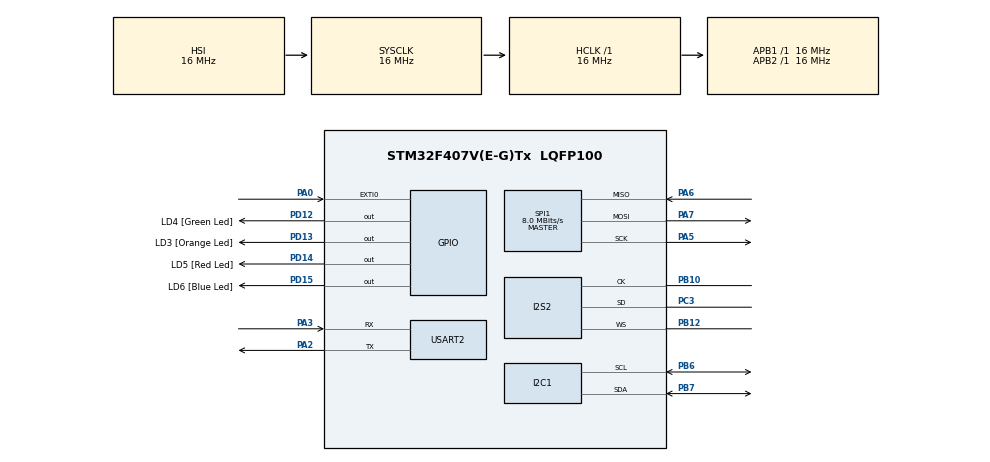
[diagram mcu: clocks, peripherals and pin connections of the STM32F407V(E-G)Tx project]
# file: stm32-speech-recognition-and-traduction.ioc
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Dma.Request0=SPI2_RX
Dma.SPI2_RX.0.Direction=DMA_PERIPH_TO_MEMORY
Dma.SPI2_RX.0.FIFOMode=DMA_FIFOMODE_DISABLE
Dma.SPI2_RX.0.Instance=DMA1_Stream3
Dma.SPI2_RX.0.MemDataAlignment=DMA_MDATAALIGN_HALFWORD
Dma.SPI2_RX.0.MemInc=DMA_MINC_ENABLE
Dma.SPI2_RX.0.Mode=DMA_CIRCULAR
Dma.SPI2_RX.0.PeriphDataAlignment=DMA_PDATAALIGN_HALFWORD
Dma.SPI2_RX.0.PeriphInc=DMA_PINC_DISABLE
Dma.SPI2_RX.0.Priority=DMA_PRIORITY_HIGH
I2S2.AudioFreq=I2S_AUDIOFREQ_8K
I2S2.AudioFreqCustom=9000
I2S2.CPOL=I2S_CPOL_LOW
I2S2.DataFormat=I2S_DATAFORMAT_24B
I2S2.ErrorAudioFreq=0.0 %
I2S2.FullDuplexMode=I2S_FULLDUPLEXMODE_DISABLE
I2S2.Instance=SPI$Index
I2S2.Mode=I2S_MODE_MASTER_RX
I2S2.RealAudioFreq=8.0 KHz
I2S2.Standard=I2S_STANDARD_PHILIPS
I2S2.VirtualMode=I2S_MODE_MASTER
Mcu.Family=STM32F4
Mcu.Name=STM32F407V(E-G)Tx
Mcu.Package=LQFP100
NVIC.DMA1_Stream3_IRQn=true\:0\:0\:false\:false\:true\:false\:true\:true
NVIC.EXTI0_IRQn=true\:0\:0\:false\:false\:true\:true\:true\:true
NVIC.PriorityGroup=NVIC_PRIORITYGROUP_4
PA0-WKUP.Signal=GPXTI0
PA2.Mode=Asynchronous
PA2.Signal=USART2_TX
PA3.Mode=Asynchronous
PA3.Signal=USART2_RX
PA5.Mode=Full_Duplex_Master
PA5.Signal=SPI1_SCK
PA6.Mode=Full_Duplex_Master
PA6.Signal=SPI1_MISO
PA7.Mode=Full_Duplex_Master
PA7.Signal=SPI1_MOSI
PB10.Mode=Half_Duplex_Master
PB10.Signal=I2S2_CK
PB12.Mode=Half_Duplex_Master
PB12.Signal=I2S2_WS
PB6.Mode=I2C
PB6.Signal=I2C1_SCL
PB7.Mode=I2C
PB7.Signal=I2C1_SDA
PC3.Mode=Half_Duplex_Master
PC3.Signal=I2S2_SD
PD12.GPIO_Label=LD4 [Green Led]
PD12.Signal=GPIO_Output
PD13.GPIO_Label=LD3 [Orange Led]
PD13.Signal=GPIO_Output
PD14.GPIO_Label=LD5 [Red Led]
PD14.Signal=GPIO_Output
PD15.GPIO_Label=LD6 [Blue Led]
PD15.Signal=GPIO_Output
PDM2PCM.CHANNEL1_in_ptr_channels=1
PDM2PCM.CHANNEL1_mic_gain=24
PDM2PCM.CHANNEL1_out_ptr_channels=1
ProjectManager.HeapSize=0x800
ProjectManager.StackSize=0x800
ProjectManager.TargetToolchain=STM32CubeIDE
RCC.48MHZClocksFreq_Value=80000000
RCC.AHBFreq_Value=16000000
RCC.APB1Freq_Value=16000000
RCC.APB1TimFreq_Value=16000000
RCC.APB2Freq_Value=16000000
RCC.APB2TimFreq_Value=16000000
RCC.CortexFreq_Value=16000000
RCC.HCLKFreq_Value=16000000
RCC.HSE_VALUE=8000000
RCC.HSI_VALUE=16000000
RCC.LSE_VALUE=32768
RCC.PLLI2SN=200
RCC.PLLI2SR=5
RCC.PLLM=10
RCC.PLLN=200
RCC.SYSCLKFreq_VALUE=16000000
RCC.VCOOutputFreq_Value=320000000
SPI1.BaudRatePrescaler=SPI_BAUDRATEPRESCALER_2
SPI1.CalculateBaudRate=8.0 MBits/s
SPI1.Direction=SPI_DIRECTION_2LINES
SPI1.Mode=SPI_MODE_MASTER
SPI1.VirtualType=VM_MASTER
STMicroelectronics.X-CUBE-AI.7.0.0.ActivationBufferSizeList=15544
STMicroelectronics.X-CUBE-AI.7.0.0.HeapSize=0x800
STMicroelectronics.X-CUBE-AI.7.0.0.InternalRamActivationBufferMaxSize=AI_SPEECH_COMMANDS_MODEL_DATA_ACTIVATIONS_SIZE
STMicroelectronics.X-CUBE-AI.7.0.0.LatestDirectoryUsed-ec8d6dc0aa295b05e866479a43a90cfb7a5666832c3120f329fbb4936ae1a87f=C\:\\Users\\idris\\OneDrive\\Desktop
STMicroelectronics.X-CUBE-AI.7.0.0.MaximumNumberOfInputLayer=1
STMicroelectronics.X-CUBE-AI.7.0.0.MaximumNumberOfOutputLayer=1
STMicroelectronics.X-CUBE-AI.7.0.0.MaximumSizeOfInputLayer=AI_SPEECH_COMMANDS_MODEL_IN_1_SIZE_BYTES
STMicroelectronics.X-CUBE-AI.7.0.0.MaximumSizeOfOutputLayer=AI_SPEECH_COMMANDS_MODEL_OUT_1_SIZE_BYTES
STMicroelectronics.X-CUBE-AI.7.0.0.ModelActualCompression-ec8d6dc0aa295b05e866479a43a90cfb7a5666832c3120f329fbb4936ae1a87f=0.0
STMicroelectronics.X-CUBE-AI.7.0.0.ModelCompression-ec8d6dc0aa295b05e866479a43a90cfb7a5666832c3120f329fbb4936ae1a87f=1
STMicroelectronics.X-CUBE-AI.7.0.0.ModelFlashOccupation-ec8d6dc0aa295b05e866479a43a90cfb7a5666832c3120f329fbb4936ae1a87f=176888
STMicroelectronics.X-CUBE-AI.7.0.0.ModelHashList=ec8d6dc0aa295b05e866479a43a90cfb7a5666832c3120f329fbb4936ae1a87f
STMicroelectronics.X-CUBE-AI.7.0.0.ModelKind-ec8d6dc0aa295b05e866479a43a90cfb7a5666832c3120f329fbb4936ae1a87f=TFLITE
STMicroelectronics.X-CUBE-AI.7.0.0.ModelMacc-ec8d6dc0aa295b05e866479a43a90cfb7a5666832c3120f329fbb4936ae1a87f=243888
STMicroelectronics.X-CUBE-AI.7.0.0.ModelName-ec8d6dc0aa295b05e866479a43a90cfb7a5666832c3120f329fbb4936ae1a87f=speech_commands_model
STMicroelectronics.X-CUBE-AI.7.0.0.ModelNameList=speech_commands_model
STMicroelectronics.X-CUBE-AI.7.0.0.ModelRamOccupation-ec8d6dc0aa295b05e866479a43a90cfb7a5666832c3120f329fbb4936ae1a87f=15544
STMicroelectronics.X-CUBE-AI.7.0.0.ModelStructureFile-ec8d6dc0aa295b05e866479a43a90cfb7a5666832c3120f329fbb4936ae1a87f=C\:\\Users\\idris\\OneDrive\\Desktop\\speech-commands-model.tflite
STMicroelectronics.X-CUBE-AI.7.0.0.ModelType-ec8d6dc0aa295b05e866479a43a90cfb7a5666832c3120f329fbb4936ae1a87f=STM32Cube.AI runtime
STMicroelectronics.X-CUBE-AI.7.0.0.ReadyForCodeGeneration=true
STMicroelectronics.X-CUBE-AI.7.0.0.StackSize=0x800
STMicroelectronics.X-CUBE-AI.7.0.0.WorkingBufferStartAddrList=0xFFFFFFFF
STMicroelectronics.X-CUBE-AI.7.0.0.XAaCUBEAaAICcArtificialOoIntelligenceJjCore=true
USART2.VirtualMode=VM_ASYNC
VP_CRC_VS_CRC.Mode=CRC_Activate
VP_PDM2PCM_VS_PDM2PCM.Mode=PDM2PCM_Channel
VP_STMicroelectronics.X-CUBE-AI_VS_ArtificialOoIntelligenceJjXAaCUBEAaAI_7.0.0.Mode=ArtificialOoIntelligenceJjXAaCUBEAaAI
board=custom

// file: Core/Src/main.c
/* USER CODE BEGIN Header */
/**
 ******************************************************************************
 * @file           : main.c
 * @brief          : Main program body
 ******************************************************************************
 * @attention
 *
 * <h2><center>&copy; Copyright (c) 2021 STMicroelectronics.
 * All rights reserved.</center></h2>
 *
 * This software component is licensed by ST under BSD 3-Clause license,
 * the "License"; You may not use this file except in compliance with the
 * License. You may obtain a copy of the License at:
 *                        opensource.org/licenses/BSD-3-Clause
 *
 ******************************************************************************
 */
/* USER CODE END Header */
#include "execution_time.h"
#include "main.h"
#include "pdm2pcm.h"

/* USER CODE BEGIN Includes */
#include <string.h>
#include <stdio.h>
#include <stdlib.h>
#include <unistd.h>
#include <inttypes.h>

/* BSP drivers */
#include "../../Drivers/BSP/STM32F4-Discovery/stm32f4_discovery.h"
#include "../../Drivers/BSP/STM32F4-Discovery/stm32f4_discovery_audio.h"

/* Audio processing */
#include "arm_math.h"
#include "feature_extraction.h"

#include "commands.h"
#include "audio_record.h"

/* AI model */
#include "ai_datatypes_defines.h"
#include "ai_platform.h"
#include "speech_commands_model.h"
#include "speech_commands_model_data.h"

/* USER CODE END Includes */

/* USER CODE BEGIN PTD */

enum leds_status {
	Off, Green, Blue, Red, Orange
};

/* USER CODE END PTD */

/* USER CODE BEGIN PD */

/* Input signal sampling rate */
#define SAMPLE_RATE  16000U

/* Number of FFT points. It must be greater or equal to FRAME_LEN */
#define FFT_LEN       2048U

/* Window length and then padded with zeros to match FFT_LEN */
#define FRAME_LEN   FFT_LEN

/* Number of overlapping samples between successive frames */
#define HOP_LEN        512U

/* Number of Mel bands */
#define NUM_MELS       128U

/* Number of Mel filter weights. Returned by MelFilterbank_Init */
#define NUM_MEL_COEFS 2020U

/* Number of MFCCs to return */
#define NUM_MFCC        16U

/* USER CODE END PD */

CRC_HandleTypeDef hcrc;

I2C_HandleTypeDef hi2c1;

I2S_HandleTypeDef hi2s2;
DMA_HandleTypeDef hdma_spi2_rx;

SPI_HandleTypeDef hspi1;

UART_HandleTypeDef huart2;

/* USER CODE BEGIN PV */

/* Instance for floating-point RFFT/RIFFT */
arm_rfft_fast_instance_f32 rfft;

/* Instance for the floating-point MelFilterbank function */
MelFilterTypeDef mel_filter;

/* Instance for the floating-point DCT functions */
DCT_InstanceTypeDef dct;

/* Instance for the floating-point Spectrogram function */
SpectrogramTypeDef spectrogram;

/* Instance for the floating-point MelSpectrogram function */
MelSpectrogramTypeDef mel_spectrogram;

/* Instance for the floating-point Log-MelSpectrogram function */
LogMelSpectrogramTypeDef log_mel_spectrogram;

/* Instance for the floating-point Mfcc function */
MfccTypeDef mfcc;

/* Intermediate buffer that contains a signal frame */
float32_t frame_buffer[FRAME_LEN];

/* Intermediate buffer that contains Mel-Frequency Cepstral Coefficients (MFCCs) column  */
float32_t mfcc_col_buffer[NUM_MFCC];

/* Intermediate buffer that contains the window function  */
float32_t window_func_buffer[FRAME_LEN];

/* Temporary calculation buffer of length `FFT_LEN` */
float32_t spectrogram_scratch_buffer[FFT_LEN];

/* Intermediate buffer that contains the Discrete Cosine Transform coefficients */
float32_t dct_coefs_buffer[NUM_MELS * NUM_MFCC];

/* Temporary calculation buffer of length `NUM_MELS` */
float32_t mfcc_scratch_buffer[NUM_MELS];

/*Intermediate buffer that contains the Mel filter weights of length `NUM_MEL_COEFS` */
float32_t mel_filter_coefs[NUM_MEL_COEFS];

/* Intermediate buffer that contains the Mel filter coefficients start indices */
uint32_t mel_filter_start_indices[NUM_MELS];

/* Intermediate buffer that contains the Mel filter coefficients stop indices */
uint32_t mel_filter_stop_indices[NUM_MELS];

/* Number of frames of the input signal */
uint32_t num_frames = 1 + (PCM_BUFFER_SIZE - FRAME_LEN) / HOP_LEN;

/* Buffer used to print through the USART interface */
char usart_buffer[50];
int usart_buffer_length = 0;

/* Control words display */
uint8_t display_words_enabled = 0;

/* Check if the words can be printed */
uint8_t print_words = 1;

/* Board led status  */
enum leds_status led_status = Off;

/* USER CODE END PV */

void SystemClock_Config(void);
static void MX_GPIO_Init(void);
static void MX_DMA_Init(void);
static void MX_I2S2_Init(void);
static void MX_CRC_Init(void);
static void MX_USART2_UART_Init(void);
static void MX_I2C1_Init(void);
static void MX_SPI1_Init(void);
/* USER CODE BEGIN PFP */

/* Initialize audio processing structures */
void preprocessing_init(void);

/* MCU sleep mode */
void stop_mode(void);

/* USER CODE END PFP */

/* USER CODE BEGIN 0 */

/**
 * @brief Compute MFCCs from the input signal audio.
 *   This function normalizes the input audio data in PCM form and extracts the
 *   MFCCs from them.
 *
 * @param  input_signal*   PCM input signal
 * @param  out_mfcc*       MFCCs output buffer
 * @param  signal_len      length of the input signal
 *
 * @retval None
 */
void preprocess_audio(int16_t *input_signal, float32_t *out_mfcc,
		uint32_t signal_len) {

	for (uint32_t frame_index = 0; frame_index < num_frames; frame_index++) {

		/* Convert 16-bit PCM into normalized floating point values */
		buf_to_float_normed(&input_signal[HOP_LEN * frame_index], frame_buffer,
		FRAME_LEN);

		MfccColumn(&mfcc, frame_buffer, mfcc_col_buffer);

		/* Reshape column into `out_mfcc` */
		for (uint32_t i = 0; i < NUM_MFCC; i++) {
			out_mfcc[i * num_frames + frame_index] = mfcc_col_buffer[i];
		}
	}
}

/**
 * @brief Recognize specific vocal commands.
 *   This function performs the following actions depending on the predicted
 *   word:
 *      - `ON` -> enable words display
 *      - `OFF` -> disable words display
 *      - `VISUAL` -> show execution time statistics
 *      - `STOP` -> reset execution time statistics
 *      - `ONE` -> turn the green led on
 *      - `TWO` -> turn the blue led on
 *      - `THREE` -> turn the red led on
 *      - `FOUR` -> turn the orange led on
 *
 *   The following rules apply to the above commands:
 *      - `ON` command has no effect when `display_words_enabled` is true
 *      - `OFF` command has no effect when `display_words_enabled` is false
 *      - `VISUAL` and `STOP` commands will always have effect
 *      - the LEDs will always turn off unless their commands are pronounced
 *
 * @param  word*   a constant string to be recognized
 *
 * @retval None
 */
void recognize_commands(const char *word) {
	/* Turn on green led and turn off the others */
	if (strcmp(word, ONE) == 0) {
		if (led_status != Green) {
			if (led_status == Blue) {
				HAL_GPIO_TogglePin(GPIOD, LD6_Pin);
			} else if (led_status == Red) {
				HAL_GPIO_TogglePin(GPIOD, LD5_Pin);
			} else if (led_status == Orange) {
				HAL_GPIO_TogglePin(GPIOD, LD3_Pin);
			}
			HAL_GPIO_TogglePin(GPIOD, LD4_Pin);
			led_status = Green;
		}
		/* Turn on blue led and turn off the others */
	} else if (strcmp(word, TWO) == 0) {
		if (led_status != Blue) {
			if (led_status == Green) {
				HAL_GPIO_TogglePin(GPIOD, LD4_Pin);
			} else if (led_status == Red) {
				HAL_GPIO_TogglePin(GPIOD, LD5_Pin);
			} else if (led_status == Orange) {
				HAL_GPIO_TogglePin(GPIOD, LD3_Pin);
			}
			HAL_GPIO_TogglePin(GPIOD, LD6_Pin);
			led_status = Blue;
		}
		/* Turn on red led and turn off the others */
	} else if (strcmp(word, THREE) == 0) {
		if (led_status != Red) {
			if (led_status == Green) {
				HAL_GPIO_TogglePin(GPIOD, LD4_Pin);
			} else if (led_status == Blue) {
				HAL_GPIO_TogglePin(GPIOD, LD6_Pin);
			} else if (led_status == Orange) {
				HAL_GPIO_TogglePin(GPIOD, LD3_Pin);
			}
			HAL_GPIO_TogglePin(GPIOD, LD5_Pin);
			led_status = Red;
		}
		/* Turn on orange led and turn off the others */
	} else if (strcmp(word, FOUR) == 0) {
		if (led_status != Orange) {
			if (led_status == Green) {
				HAL_GPIO_TogglePin(GPIOD, LD4_Pin);
			} else if (led_status == Blue) {
				HAL_GPIO_TogglePin(GPIOD, LD6_Pin);
			} else if (led_status == Red) {
				HAL_GPIO_TogglePin(GPIOD, LD5_Pin);
			}
			HAL_GPIO_TogglePin(GPIOD, LD3_Pin);
			led_status = Orange;
		}
	}
	/* The input word is different from the four colors */
	else {
		/* If there is a led on, turn it off */
		if (led_status == Green) {
			HAL_GPIO_TogglePin(GPIOD, LD4_Pin);
		} else if (led_status == Blue) {
			HAL_GPIO_TogglePin(GPIOD, LD6_Pin);
		} else if (led_status == Red) {
			HAL_GPIO_TogglePin(GPIOD, LD5_Pin);
		} else if (led_status == Orange) {
			HAL_GPIO_TogglePin(GPIOD, LD3_Pin);
		}

		led_status = Off;

		/* Enable `display_words_enabled` */
		if (strcmp(word, ON) == 0) {
			print_words = 0;
			if (!display_words_enabled) {
				usart_buffer_length = sprintf(usart_buffer,
						"Now the words will be displayed\r\n");
				HAL_UART_Transmit(&huart2, (uint8_t*) usart_buffer,
						usart_buffer_length, 100);
				/* `display_words_enabled` is already enabled */
			} else {
				usart_buffer_length = sprintf(usart_buffer,
						"Words display is already enabled\r\n");
				HAL_UART_Transmit(&huart2, (uint8_t*) usart_buffer,
						usart_buffer_length, 100);
			}

			display_words_enabled = 1;
			/* Disable `display_words_enabled` */
		} else if (strcmp(word, OFF) == 0) {
			if (display_words_enabled) {
				display_words_enabled = 0;

				usart_buffer_length = sprintf(usart_buffer,
						"Now the words will not be displayed anymore\r\n");
				HAL_UART_Transmit(&huart2, (uint8_t*) usart_buffer,
						usart_buffer_length, 100);
			}
			/* Show execution time statistics */
		} else if (strcmp(word, VISUAL) == 0) {
			print_words = 0;

			for (uint8_t i = 0; i < EXECUTION_TIME_MAX_SECTIONS; i++) {
				switch (i) {
				case 0:
					usart_buffer_length = sprintf(usart_buffer,
							"Audio acquisition execution time:\r\n");
					break;
				case 1:
					usart_buffer_length = sprintf(usart_buffer,
							"MFCCs extraction execution time:\r\n");
					break;
				case 2:
					usart_buffer_length = sprintf(usart_buffer,
							"Inference execution time:\r\n");
					break;
				default:
					break;
					// unreachable
				}
				HAL_UART_Transmit(&huart2, (uint8_t*) usart_buffer,
						usart_buffer_length, 100);

				usart_buffer_length = sprintf(usart_buffer, "\telapsed=%lu\r\n",
						time_statistics_blocks[i].elapsed);
				HAL_UART_Transmit(&huart2, (uint8_t*) usart_buffer,
						usart_buffer_length, 100);

				usart_buffer_length = sprintf(usart_buffer, "\tmax=%lu\r\n",
						time_statistics_blocks[i].max);
				HAL_UART_Transmit(&huart2, (uint8_t*) usart_buffer,
						usart_buffer_length, 100);

				usart_buffer_length = sprintf(usart_buffer, "\tmin=%lu\r\n",
						time_statistics_blocks[i].min);
				HAL_UART_Transmit(&huart2, (uint8_t*) usart_buffer,
						usart_buffer_length, 100);
			}
			/* Reset execution time statistics */
		} else if (strcmp(word, STOP) == 0) {

			print_words = 0;

			usart_buffer_length = sprintf(usart_buffer,
					"Execution times are now reset\r\n");
			HAL_UART_Transmit(&huart2, (uint8_t*) usart_buffer,
					usart_buffer_length, 100);

			for (uint8_t i = 0; i < EXECUTION_TIME_MAX_SECTIONS; i++) {
				execution_time_clear(i);
			}
		}
	}
}

/* USER CODE END 0 */

int main(void)
{
  /* USER CODE BEGIN 1 */
	uint8_t test[20] = {'\0'};
//	uint8_t value = 10;

	ai_error ai_err;
	ai_i32 nbatch;

	/* Chunk of memory used to hold intermediate values for the neural network */
	AI_ALIGNED(4) ai_u8 activations[AI_SPEECH_COMMANDS_MODEL_DATA_ACTIVATIONS_SIZE];

	/* Buffers used to store input and output tensors */
	AI_ALIGNED(4) ai_float in_data[AI_SPEECH_COMMANDS_MODEL_IN_1_SIZE_BYTES];
	AI_ALIGNED(4) ai_float out_data[AI_SPEECH_COMMANDS_MODEL_OUT_1_SIZE_BYTES];

	/* Pointer to the neural network model */
	ai_handle speech_commands_model = AI_HANDLE_NULL;

	/* Initialize wrapper structs that hold info about the data (tensor height, width, channels) */
	ai_buffer ai_input[AI_SPEECH_COMMANDS_MODEL_IN_NUM] = AI_SPEECH_COMMANDS_MODEL_IN;
	ai_buffer ai_output[AI_SPEECH_COMMANDS_MODEL_OUT_NUM] = AI_SPEECH_COMMANDS_MODEL_OUT;

	/* Allocate memory and get weights from the neural network model */
	ai_network_params ai_params =
					AI_NETWORK_PARAMS_INIT(
							AI_SPEECH_COMMANDS_MODEL_DATA_WEIGHTS(ai_speech_commands_model_data_weights_get()),
							AI_SPEECH_COMMANDS_MODEL_DATA_ACTIVATIONS(activations)
					);

	/* Set wrapper structs pointers to the data buffers */
	ai_input[0].n_batches = 1;
	ai_input[0].data = AI_HANDLE_PTR(in_data);
	ai_output[0].n_batches = 1;
	ai_output[0].data = AI_HANDLE_PTR(out_data);

  /* USER CODE END 1 */

  /* MCU Configuration--------------------------------------------------------*/

  /* Reset of all peripherals, Initializes the Flash interface and the Systick. */
  HAL_Init();

  /* USER CODE BEGIN Init */

	/* Initialize LEDs */
	BSP_LED_Init(LED3);
	BSP_LED_Init(LED4);
	BSP_LED_Init(LED5);
	BSP_LED_Init(LED6);

	preprocessing_init();

	execution_time_init();

  /* USER CODE END Init */

  /* Configure the system clock */
  SystemClock_Config();

  /* USER CODE BEGIN SysInit */

	/* Initialize button */
	BSP_PB_Init(BUTTON_KEY, BUTTON_MODE_EXTI);

  /* USER CODE END SysInit */

  /* Initialize all configured peripherals */
  MX_GPIO_Init();
  MX_DMA_Init();
  MX_I2S2_Init();
  MX_CRC_Init();
  MX_PDM2PCM_Init();
  MX_USART2_UART_Init();
  MX_I2C1_Init();
  MX_SPI1_Init();
  /* USER CODE BEGIN 2 */

	/* Create an instance of the neural network */
	ai_err = ai_speech_commands_model_create(&speech_commands_model,
	AI_SPEECH_COMMANDS_MODEL_DATA_CONFIG);
	if (ai_err.type != AI_ERROR_NONE) {
		usart_buffer_length = sprintf(usart_buffer,
				"Error: could not create NN instance\r\n");
		HAL_UART_Transmit(&huart2, (uint8_t*) usart_buffer, usart_buffer_length,
				100);
		while (1)
			;
	}

	/* Initialize the neural network */
	if (!ai_speech_commands_model_init(speech_commands_model, &ai_params)) {
		usart_buffer_length = sprintf(usart_buffer,
				"Error: could not initialize NN\r\n");
		HAL_UART_Transmit(&huart2, (uint8_t*) usart_buffer, usart_buffer_length,
				100);
		while (1)
			;
	}

  /* USER CODE END 2 */

  /* Infinite loop */
  /* USER CODE BEGIN WHILE */
	while (1) {
		stop_mode();

		HAL_GPIO_TogglePin(GPIOD, LD6_Pin);
		execution_time_start(0);
		/* Acquire audio signal and transform it to PCM data */
		audio_record();
		execution_time_stop(0);
		HAL_GPIO_TogglePin(GPIOD, LD6_Pin);
		HAL_UART_Transmit(&huart2, (uint8_t*)"Hello world\n", strlen("Hello world\n"), 50);

		execution_time_start(1);
		/* Preprocess audio signal to get the MFCCs */
		preprocess_audio((int16_t*) &pcm_buffer[0], (ai_float*) &in_data[0],
		PCM_BUFFER_SIZE);
		execution_time_stop(1);

		execution_time_start(2);
		/* Perform inference */
		nbatch = ai_speech_commands_model_run(speech_commands_model,
				&ai_input[0], &ai_output[0]);
		execution_time_stop(2);

		if (nbatch != 1) {
			usart_buffer_length = sprintf(usart_buffer,
					"Error: could not run inference\r\n");
			HAL_UART_Transmit(&huart2, (uint8_t*) usart_buffer,
					usart_buffer_length, 100);
		} else {
			/* Get the predicted word */
			uint8_t idx = argmax(out_data, AI_SPEECH_COMMANDS_MODEL_OUT_1_SIZE);
			sprintf(test, "value of %d \n\r", idx);							//sometest
			HAL_UART_Transmit(&huart2, test, sizeof(test), 50);				//sometest

			char * word = get_word(idx);										//ori: char * word

			print_words = 1;

			recognize_commands(word);

			usart_buffer_length = sprintf(usart_buffer, "%s\r\n", word);
			HAL_UART_Transmit(&huart2, (uint8_t*) usart_buffer,
					usart_buffer_length, 100);

			if (display_words_enabled) {
				/* Print words for commands different from `ON`, `VISUAL` and `STOP` */
				if (print_words) {
					/* Print the neural network output */
					usart_buffer_length = sprintf(usart_buffer, "%s\r\n", word);
					HAL_UART_Transmit(&huart2, (uint8_t*) usart_buffer,
							usart_buffer_length, 100);
				}
			}
		}
	}

    /* USER CODE END WHILE */

}

void SystemClock_Config(void)
{
  RCC_OscInitTypeDef RCC_OscInitStruct = {0};
  RCC_ClkInitTypeDef RCC_ClkInitStruct = {0};

  /** Macro to configure the PLL multiplication factor
  */
  __HAL_RCC_PLL_PLLM_CONFIG(10);
  /** Macro to configure the PLL clock source
  */
  __HAL_RCC_PLL_PLLSOURCE_CONFIG(RCC_PLLSOURCE_HSI);
  /** Configure the main internal regulator output voltage
  */
  __HAL_RCC_PWR_CLK_ENABLE();
  __HAL_PWR_VOLTAGESCALING_CONFIG(PWR_REGULATOR_VOLTAGE_SCALE1);
  /** Initializes the RCC Oscillators according to the specified parameters
  * in the RCC_OscInitTypeDef structure.
  */
  RCC_OscInitStruct.OscillatorType = RCC_OSCILLATORTYPE_HSI;
  RCC_OscInitStruct.HSIState = RCC_HSI_ON;
  RCC_OscInitStruct.HSICalibrationValue = RCC_HSICALIBRATION_DEFAULT;
  RCC_OscInitStruct.PLL.PLLState = RCC_PLL_NONE;
  RCC_OscInitStruct.PLL.PLLSource = RCC_PLLSOURCE_HSI;
  if (HAL_RCC_OscConfig(&RCC_OscInitStruct) != HAL_OK)
  {
    Error_Handler();
  }
  /** Initializes the CPU, AHB and APB buses clocks
  */
  RCC_ClkInitStruct.ClockType = RCC_CLOCKTYPE_HCLK|RCC_CLOCKTYPE_SYSCLK
                              |RCC_CLOCKTYPE_PCLK1|RCC_CLOCKTYPE_PCLK2;
  RCC_ClkInitStruct.SYSCLKSource = RCC_SYSCLKSOURCE_HSI;
  RCC_ClkInitStruct.AHBCLKDivider = RCC_SYSCLK_DIV1;
  RCC_ClkInitStruct.APB1CLKDivider = RCC_HCLK_DIV1;
  RCC_ClkInitStruct.APB2CLKDivider = RCC_HCLK_DIV1;

  if (HAL_RCC_ClockConfig(&RCC_ClkInitStruct, FLASH_LATENCY_0) != HAL_OK)
  {
    Error_Handler();
  }
}

static void MX_CRC_Init(void)
{

  hcrc.Instance = CRC;
  if (HAL_CRC_Init(&hcrc) != HAL_OK)
  {
    Error_Handler();
  }
  __HAL_CRC_DR_RESET(&hcrc);

}

static void MX_I2C1_Init(void)
{

  hi2c1.Instance = I2C1;
  hi2c1.Init.ClockSpeed = 100000;
  hi2c1.Init.DutyCycle = I2C_DUTYCYCLE_2;
  hi2c1.Init.OwnAddress1 = 0;
  hi2c1.Init.AddressingMode = I2C_ADDRESSINGMODE_7BIT;
  hi2c1.Init.DualAddressMode = I2C_DUALADDRESS_DISABLE;
  hi2c1.Init.OwnAddress2 = 0;
  hi2c1.Init.GeneralCallMode = I2C_GENERALCALL_DISABLE;
  hi2c1.Init.NoStretchMode = I2C_NOSTRETCH_DISABLE;
  if (HAL_I2C_Init(&hi2c1) != HAL_OK)
  {
    Error_Handler();
  }

}

static void MX_I2S2_Init(void)
{

  hi2s2.Instance = SPI2;
  hi2s2.Init.Mode = I2S_MODE_MASTER_RX;
  hi2s2.Init.Standard = I2S_STANDARD_PHILIPS;
  hi2s2.Init.DataFormat = I2S_DATAFORMAT_24B;
  hi2s2.Init.MCLKOutput = I2S_MCLKOUTPUT_DISABLE;
  hi2s2.Init.AudioFreq = I2S_AUDIOFREQ_8K;
  hi2s2.Init.CPOL = I2S_CPOL_LOW;
  hi2s2.Init.ClockSource = I2S_CLOCK_PLL;
  hi2s2.Init.FullDuplexMode = I2S_FULLDUPLEXMODE_DISABLE;
  if (HAL_I2S_Init(&hi2s2) != HAL_OK)
  {
    Error_Handler();
  }

}

static void MX_SPI1_Init(void)
{

  /* SPI1 parameter configuration*/
  hspi1.Instance = SPI1;
  hspi1.Init.Mode = SPI_MODE_MASTER;
  hspi1.Init.Direction = SPI_DIRECTION_2LINES;
  hspi1.Init.DataSize = SPI_DATASIZE_8BIT;
  hspi1.Init.CLKPolarity = SPI_POLARITY_LOW;
  hspi1.Init.CLKPhase = SPI_PHASE_1EDGE;
  hspi1.Init.NSS = SPI_NSS_SOFT;
  hspi1.Init.BaudRatePrescaler = SPI_BAUDRATEPRESCALER_2;
  hspi1.Init.FirstBit = SPI_FIRSTBIT_MSB;
  hspi1.Init.TIMode = SPI_TIMODE_DISABLE;
  hspi1.Init.CRCCalculation = SPI_CRCCALCULATION_DISABLE;
  hspi1.Init.CRCPolynomial = 10;
  if (HAL_SPI_Init(&hspi1) != HAL_OK)
  {
    Error_Handler();
  }

}

static void MX_USART2_UART_Init(void)
{

  huart2.Instance = USART2;
  huart2.Init.BaudRate = 115200;
  huart2.Init.WordLength = UART_WORDLENGTH_8B;
  huart2.Init.StopBits = UART_STOPBITS_1;
  huart2.Init.Parity = UART_PARITY_NONE;
  huart2.Init.Mode = UART_MODE_TX_RX;
  huart2.Init.HwFlowCtl = UART_HWCONTROL_NONE;
  huart2.Init.OverSampling = UART_OVERSAMPLING_16;
  if (HAL_UART_Init(&huart2) != HAL_OK)
  {
    Error_Handler();
  }

}

static void MX_DMA_Init(void)
{

  /* DMA controller clock enable */
  __HAL_RCC_DMA1_CLK_ENABLE();

  /* DMA interrupt init */
  /* DMA1_Stream3_IRQn interrupt configuration */
  HAL_NVIC_SetPriority(DMA1_Stream3_IRQn, 0, 0);
  HAL_NVIC_EnableIRQ(DMA1_Stream3_IRQn);

}

static void MX_GPIO_Init(void)
{
  GPIO_InitTypeDef GPIO_InitStruct = {0};

  /* GPIO Ports Clock Enable */
  __HAL_RCC_GPIOC_CLK_ENABLE();
  __HAL_RCC_GPIOA_CLK_ENABLE();
  __HAL_RCC_GPIOB_CLK_ENABLE();
  __HAL_RCC_GPIOD_CLK_ENABLE();

  /*Configure GPIO pin Output Level */
  HAL_GPIO_WritePin(GPIOD, LD4_Pin|LD3_Pin|LD5_Pin|LD6_Pin, GPIO_PIN_RESET);

  /*Configure GPIO pin : PA0 */
  GPIO_InitStruct.Pin = GPIO_PIN_0;
  GPIO_InitStruct.Mode = GPIO_MODE_IT_RISING;
  GPIO_InitStruct.Pull = GPIO_NOPULL;
  HAL_GPIO_Init(GPIOA, &GPIO_InitStruct);

  /*Configure GPIO pins : LD4_Pin LD3_Pin LD5_Pin LD6_Pin */
  GPIO_InitStruct.Pin = LD4_Pin|LD3_Pin|LD5_Pin|LD6_Pin;
  GPIO_InitStruct.Mode = GPIO_MODE_OUTPUT_PP;
  GPIO_InitStruct.Pull = GPIO_NOPULL;
  GPIO_InitStruct.Speed = GPIO_SPEED_FREQ_LOW;
  HAL_GPIO_Init(GPIOD, &GPIO_InitStruct);

  /* EXTI interrupt init*/
  HAL_NVIC_SetPriority(EXTI0_IRQn, 0, 0);
  HAL_NVIC_EnableIRQ(EXTI0_IRQn);

}

/* USER CODE BEGIN 4 */

/**
 * @brief Initialize the data structures to preprocess the audio signal.
 *
 * @param  None
 *
 * @retval None
 */
void preprocessing_init(void) {
	/* Init window function */
	if (Window_Init(window_func_buffer, FRAME_LEN, WINDOW_HANN) != 0) {
		while (1)
			;
	}

	/* Init RFFT */
	arm_rfft_fast_init_f32(&rfft, FFT_LEN);

	/* Init mel filterbank */
	mel_filter.pStartIndices = mel_filter_start_indices;
	mel_filter.pStopIndices = mel_filter_stop_indices;
	mel_filter.pCoefficients = mel_filter_coefs;
	mel_filter.NumMels = NUM_MELS;
	mel_filter.FFTLen = FFT_LEN;
	mel_filter.SampRate = SAMPLE_RATE;
	mel_filter.FMin = 0.0;
	mel_filter.FMax = mel_filter.SampRate / 2.0;
	mel_filter.Formula = MEL_SLANEY;
	mel_filter.Normalize = 1;
	mel_filter.Mel2F = 1;
	MelFilterbank_Init(&mel_filter);
	if (mel_filter.CoefficientsLength != NUM_MEL_COEFS) {
		while (1)
			;
	}

	/* Init DCT operation */
	dct.NumFilters = NUM_MFCC;
	dct.NumInputs = NUM_MELS;
	dct.Type = DCT_TYPE_II_ORTHO;
	dct.RemoveDCTZero = 0;
	dct.pDCTCoefs = dct_coefs_buffer;
	if (DCT_Init(&dct) != 0) {
		while (1)
			;
	}

	/* Init Spectrogram */
	spectrogram.pRfft = &rfft;
	spectrogram.Type = SPECTRUM_TYPE_POWER;
	spectrogram.pWindow = window_func_buffer;
	spectrogram.SampRate = SAMPLE_RATE;
	spectrogram.FrameLen = FRAME_LEN;
	spectrogram.FFTLen = FFT_LEN;
	spectrogram.pScratch = spectrogram_scratch_buffer;

	/* Init MelSpectrogram */
	mel_spectrogram.SpectrogramConf = &spectrogram;
	mel_spectrogram.MelFilter = &mel_filter;

	/* Init LogMelSpectrogram */
	log_mel_spectrogram.MelSpectrogramConf = &mel_spectrogram;
	log_mel_spectrogram.LogFormula = LOGMELSPECTROGRAM_SCALE_DB;
	log_mel_spectrogram.Ref = 1.0;
	log_mel_spectrogram.TopdB = HUGE_VALF;

	/* Init MFCC */
	mfcc.LogMelConf = &log_mel_spectrogram;
	mfcc.pDCT = &dct;
	mfcc.NumMfccCoefs = NUM_MFCC;
	mfcc.pScratch = mfcc_scratch_buffer;
}

/**
 * @brief Put the MCU into WFI STOP MODE.
 *   This function suspends all the peripherals and the USART, except the GPIO
 *   ones.
 *
 * @param  None
 *
 * @retval None
 */
void stop_mode(void) {
	HAL_UART_DeInit(&huart2);

	/* Suspend Tick increment to prevent wakeup by Systick interrupt,
	 * otherwise the Systick interrupt will wake up the device within
	 * 1ms (HAL time base)
	 */
	HAL_SuspendTick();

	/* Request to enter STOP mode */
	HAL_PWR_EnterSTOPMode(PWR_LOWPOWERREGULATOR_ON, PWR_STOPENTRY_WFI);

	/* Resume Tick interrupt if disabled prior to sleep mode entry*/
	HAL_ResumeTick();

	/* Reinitialize UART2 */
	MX_USART2_UART_Init();
}

/* USER CODE END 4 */

void Error_Handler(void)
{
	__disable_irq();
	while (1) {
	}
}

/************************ (C) COPYRIGHT STMicroelectronics *****END OF FILE****/
